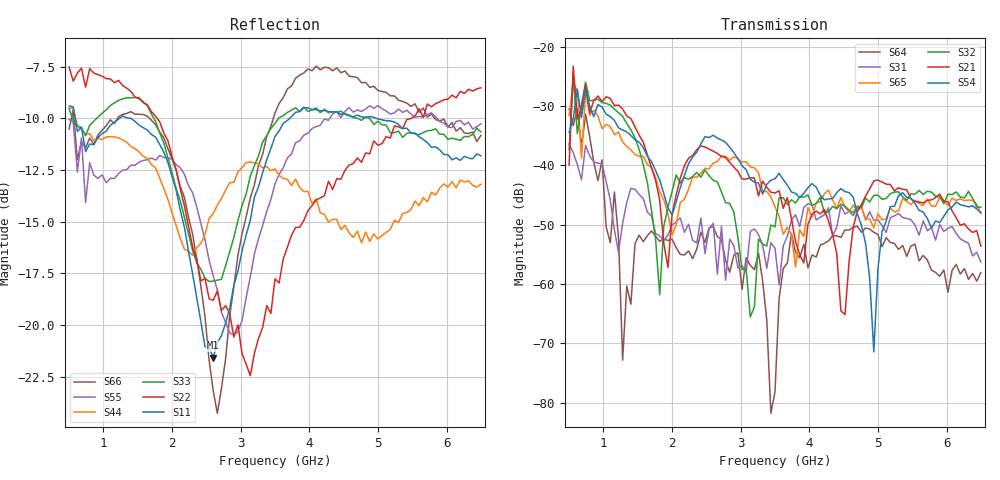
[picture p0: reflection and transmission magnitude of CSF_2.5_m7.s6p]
!Keysight Technologies,M9804A,MY58100912,A.14.10.03
!Date: Thursday, April 27, 2023 10:28:33
!Correction: S11(C  6-Port  )
!S12(C  6-Port  )
!S13(C  6-Port  )
!S14(C  6-Port  )
!S15(C  6-Port  )
!S16(C  6-Port  )
!S21(C  6-Port  )
!S22(C  6-Port  )
!S23(C  6-Port  )
!S24(C  6-Port  )
!S25(C  6-Port  )
!S26(C  6-Port  )
!S31(C  6-Port  )
!S32(C  6-Port  )
!S33(C  6-Port  )
!S34(C  6-Port  )
!S35(C  6-Port  )
!S36(C  6-Port  )
!S41(C  6-Port  )
!S42(C  6-Port  )
!S43(C  6-Port  )
!S44(C  6-Port  )
!S45(C  6-Port  )
!S46(C  6-Port  )
!S51(C  6-Port  )
!S52(C  6-Port  )
!S53(C  6-Port  )
!S54(C  6-Port  )
!S55(C  6-Port  )
!S56(C  6-Port  )
!S61(C  6-Port  )
!S62(C  6-Port  )
!S63(C  6-Port  )
!S64(C  6-Port  )
!S65(C  6-Port  )
!S66(C  6-Port  )
!S6P File: Measurement: :
# Hz S  RI  R 50
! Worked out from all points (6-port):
!   101 points, 500 MHz to 6.5 GHz, reference 50 ohm
!   strongest paths, dB at 500 MHz, 2 GHz, 3.5 GHz, 5 GHz, 6.5 GHz:
!     S54: -34.4, -48.3, -42.2, -57.4, -48.0
!     S21: -39.9, -48.3, -44.6, -42.5, -53.6
!     S32: -37.3, -44.4, -50.4, -45.0, -47.0
!     S65: -31.6, -51.7, -47.0, -48.2, -48.0
!     S31: -36.3, -50.0, -53.9, -49.2, -56.3
!     S64: -30.5, -52.4, -78.2, -51.6, -58.1
!   lowest |S11| = -21.6 dB at 2.6 GHz (marker M1), VSWR 1.18, Z = 42.5 + j2.03 ohm
!   |S11| at or under -10 dB: 587.9 MHz to 1.235 GHz (647.5 MHz wide, 71 % of centre); 1.395 GHz to 3.714 GHz (2.319 GHz wide, 90.8 % of centre); 4.974 GHz to end of sweep
